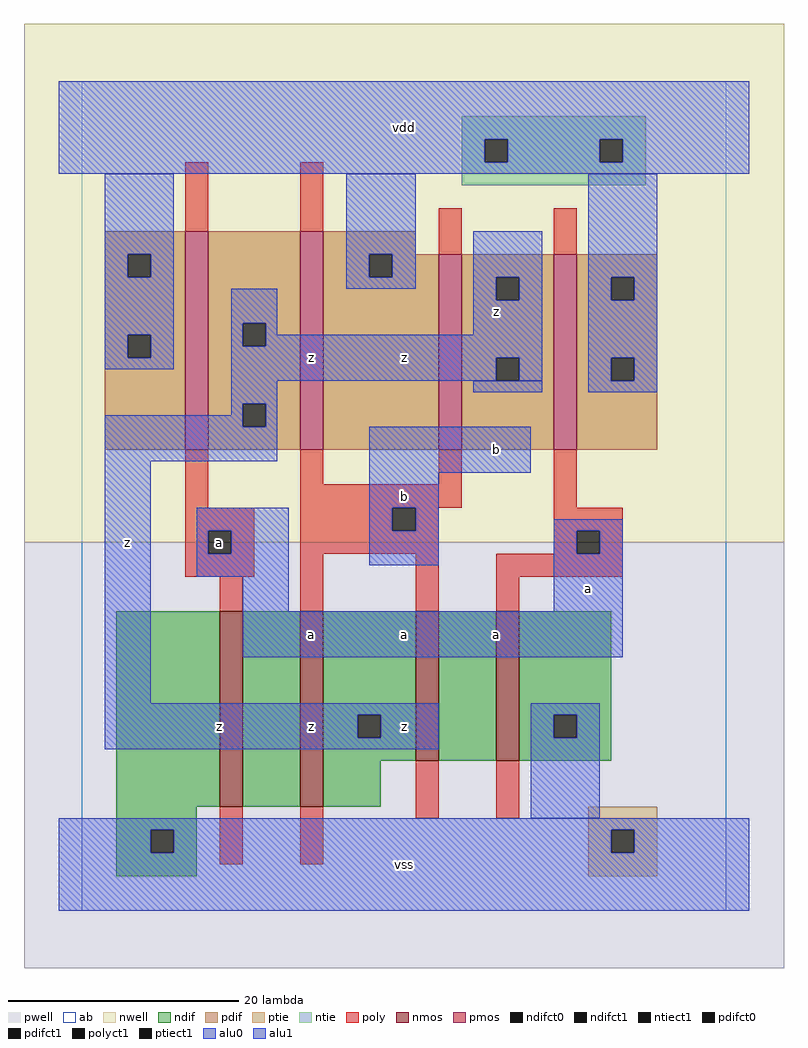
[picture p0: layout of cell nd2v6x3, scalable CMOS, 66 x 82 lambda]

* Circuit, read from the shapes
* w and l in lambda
.subckt nd2v6x3 a b vdd vss z
M1 n1 a vss vss nfet w=17 l=2
M2 z b n1 vss nfet w=17 l=2
M3 n2 b z vss nfet w=13 l=2
M4 vss a n2 vss nfet w=13 l=2
M5 z a vdd vdd pfet w=19 l=2
M6 vdd b z vdd pfet w=19 l=2
M7 z b vdd vdd pfet w=17 l=2
M8 vdd a z vdd pfet w=17 l=2
.ends

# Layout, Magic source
magic
tech scmos
<< ab >>
rect 0 0 56 72
<< nwell >>
rect -5 32 61 77
<< pwell >>
rect -5 -5 61 32
<< poly >>
rect 9 59 11 65
rect 19 59 21 65
rect 31 57 33 61
rect 41 57 43 61
rect 9 35 11 40
rect 19 37 21 40
rect 31 37 33 40
rect 19 35 33 37
rect 41 35 43 40
rect 9 33 15 35
rect 9 31 11 33
rect 13 31 15 33
rect 9 29 15 31
rect 19 33 27 35
rect 29 33 31 35
rect 19 31 31 33
rect 41 33 47 35
rect 41 31 43 33
rect 45 31 47 33
rect 12 26 14 29
rect 19 26 21 31
rect 29 26 31 31
rect 36 29 47 31
rect 36 26 38 29
rect 12 4 14 9
rect 19 4 21 9
rect 29 8 31 13
rect 36 8 38 13
<< ndif >>
rect 3 9 12 26
rect 14 9 19 26
rect 21 17 29 26
rect 21 15 24 17
rect 26 15 29 17
rect 21 13 29 15
rect 31 13 36 26
rect 38 17 46 26
rect 38 15 41 17
rect 43 15 46 17
rect 38 13 46 15
rect 21 9 26 13
rect 3 7 10 9
rect 3 5 6 7
rect 8 5 10 7
rect 3 3 10 5
<< pdif >>
rect 2 57 9 59
rect 2 55 4 57
rect 6 55 9 57
rect 2 50 9 55
rect 2 48 4 50
rect 6 48 9 50
rect 2 40 9 48
rect 11 51 19 59
rect 11 49 14 51
rect 16 49 19 51
rect 11 44 19 49
rect 11 42 14 44
rect 16 42 19 44
rect 11 40 19 42
rect 21 57 29 59
rect 21 55 25 57
rect 27 55 31 57
rect 21 40 31 55
rect 33 55 41 57
rect 33 53 36 55
rect 38 53 41 55
rect 33 48 41 53
rect 33 46 36 48
rect 38 46 41 48
rect 33 40 41 46
rect 43 55 50 57
rect 43 53 46 55
rect 48 53 50 55
rect 43 48 50 53
rect 43 46 46 48
rect 48 46 50 48
rect 43 40 50 46
<< alu1 >>
rect -2 67 58 72
rect -2 65 35 67
rect 37 65 45 67
rect 47 65 58 67
rect -2 64 58 65
rect 34 55 40 59
rect 13 51 17 54
rect 13 49 14 51
rect 16 50 17 51
rect 34 53 36 55
rect 38 53 40 55
rect 34 50 40 53
rect 16 49 40 50
rect 13 48 40 49
rect 13 46 36 48
rect 38 46 40 48
rect 13 44 17 46
rect 13 43 14 44
rect 2 42 14 43
rect 16 42 17 44
rect 2 39 17 42
rect 2 18 6 39
rect 25 38 39 42
rect 25 35 31 38
rect 10 33 18 35
rect 10 31 11 33
rect 13 31 18 33
rect 10 29 18 31
rect 25 33 27 35
rect 29 33 31 35
rect 25 30 31 33
rect 41 33 47 34
rect 41 31 43 33
rect 45 31 47 33
rect 14 26 18 29
rect 41 26 47 31
rect 14 22 47 26
rect 2 17 31 18
rect 2 15 24 17
rect 26 15 31 17
rect 2 14 31 15
rect -2 7 58 8
rect -2 5 6 7
rect 8 5 46 7
rect 48 5 58 7
rect -2 0 58 5
<< ptie >>
rect 44 7 50 9
rect 44 5 46 7
rect 48 5 50 7
rect 44 3 50 5
<< ntie >>
rect 33 67 49 69
rect 33 65 35 67
rect 37 65 45 67
rect 47 65 49 67
rect 33 63 49 65
<< nmos >>
rect 12 9 14 26
rect 19 9 21 26
rect 29 13 31 26
rect 36 13 38 26
<< pmos >>
rect 9 40 11 59
rect 19 40 21 59
rect 31 40 33 57
rect 41 40 43 57
<< polyct1 >>
rect 11 31 13 33
rect 27 33 29 35
rect 43 31 45 33
<< ndifct0 >>
rect 41 15 43 17
<< ndifct1 >>
rect 24 15 26 17
rect 6 5 8 7
<< ntiect1 >>
rect 35 65 37 67
rect 45 65 47 67
<< ptiect1 >>
rect 46 5 48 7
<< pdifct0 >>
rect 4 55 6 57
rect 4 48 6 50
rect 25 55 27 57
rect 46 53 48 55
rect 46 46 48 48
<< pdifct1 >>
rect 14 49 16 51
rect 14 42 16 44
rect 36 53 38 55
rect 36 46 38 48
<< alu0 >>
rect 2 57 8 64
rect 2 55 4 57
rect 6 55 8 57
rect 2 50 8 55
rect 23 57 29 64
rect 23 55 25 57
rect 27 55 29 57
rect 23 54 29 55
rect 2 48 4 50
rect 6 48 8 50
rect 2 47 8 48
rect 34 45 40 46
rect 44 55 50 64
rect 44 53 46 55
rect 48 53 50 55
rect 44 48 50 53
rect 44 46 46 48
rect 48 46 50 48
rect 44 45 50 46
rect 39 17 45 18
rect 39 15 41 17
rect 43 15 45 17
rect 39 8 45 15
<< labels >>
rlabel alu1 4 32 4 32 6 z
rlabel alu1 20 16 20 16 6 z
rlabel alu1 12 16 12 16 6 z
rlabel polyct1 12 32 12 32 6 a
rlabel alu1 20 24 20 24 6 a
rlabel alu1 20 48 20 48 6 z
rlabel alu1 28 4 28 4 6 vss
rlabel alu1 28 16 28 16 6 z
rlabel alu1 28 24 28 24 6 a
rlabel alu1 36 24 36 24 6 a
rlabel alu1 36 40 36 40 6 b
rlabel alu1 28 36 28 36 6 b
rlabel alu1 28 48 28 48 6 z
rlabel alu1 36 52 36 52 6 z
rlabel alu1 28 68 28 68 6 vdd
rlabel alu1 44 28 44 28 6 a
<< end >>
